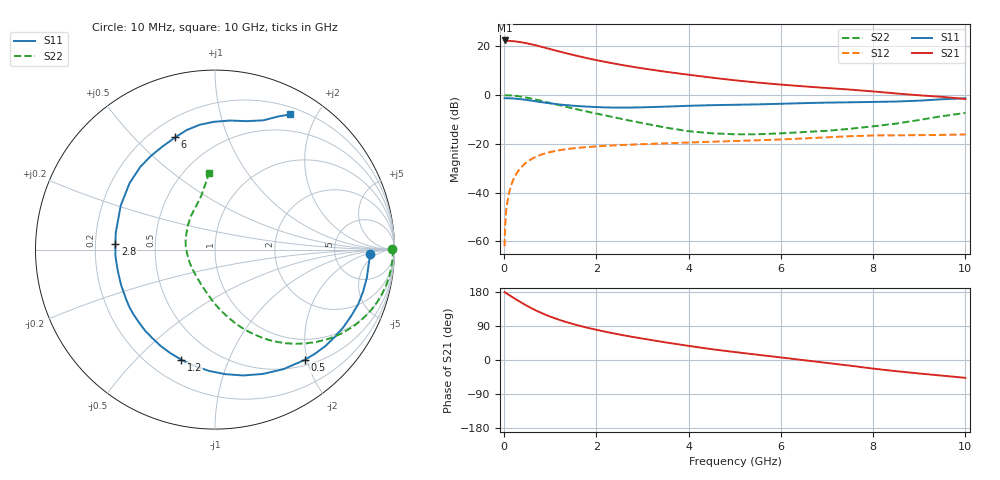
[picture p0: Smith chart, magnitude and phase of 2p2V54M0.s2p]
! (c) 2009  Infineon Technologies AG, Munich
! Infineon Technologies  Discrete & RF Semiconductors
! BFP420
! VCE =  2.5 V,  IC =  4.0 mA
! Common Emitter S-Parameters:  Nov 2009
# GHz  S  MA  R  50
!  f  S11  S21  S12  S22
! GHz  MAG  ANG  MAG  ANG  MAG  ANG  MAG  ANG
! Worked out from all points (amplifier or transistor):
!   46 points, 10 MHz to 10 GHz, reference 50 ohm
!   highest |S21| = 22.4 dB at 10 MHz (marker M1)
!   |S21| within 3 dB of that: start of sweep to 890.3 MHz
!   unconditionally stable (mu >= 1): 3.242 GHz to end of sweep
!   at 300 MHz: K = 0.08, MSG = 26.6 dB, |S12| = -31.3 dB
!   at 1.7 GHz: K = 0.52, MSG = 18.5 dB, |S12| = -21.5 dB
!   at 10 GHz: K = 1.14, MAG = 5.0 dB, |S12| = -16.1 dB
!   lowest NFmin = 0.61 dB at 900 MHz
!   S11 on the Smith chart (normalised r, x): 10 MHz: 13, -2; 500 MHz: 0.59, -1.96; 1.2 GHz: 0.33, -0.69; 2.8 GHz: 0.29, +0.03; 6 GHz: 0.30, +0.66; 10 GHz: 0.29, +1.66
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0.01  0.8632 -1.6  13.17 179.2  0.0008 104.5  0.988 0.1
0.02  0.8642 -2.3  12.84 178.6  0.0021 86.0  0.9909 -1.2
0.05  0.8602 -5.3  12.87 175.9  0.0048 87.8  0.9902 -3.0
0.15  0.8576 -15.8  12.82 168.2  0.014 81.6  0.9813 -9.1
0.3  0.8355 -31.3  12.39 156.8  0.0273 73.6  0.9492 -18.0
0.4  0.8166 -41.2  11.96 149.6  0.0354 68.4  0.9186 -23.5
0.5  0.7922 -50.9  11.47 142.7  0.0428 63.6  0.8831 -28.8
0.6  0.7675 -60.2  10.94 136.1  0.0493 59.2  0.8448 -33.7
0.8  0.7189 -77.3  9.811 124.6  0.0599 51.5  0.7646 -42.3
1  0.6765 -92.9  8.762 114.5  0.068 45.2  0.6882 -49.7
1.2  0.6421 -106.9  7.816 105.8  0.0741 40.1  0.6191 -56.1
1.4  0.6162 -119.5  7 98.2  0.079 35.9  0.5587 -61.7
1.7  0.5867 -136.2  6.007 88.3  0.0845 30.9  0.4813 -69.0
2.2  0.5591 -159.5  4.775 74.5  0.0912 24.8  0.3814 -79.4
2.8  0.5563 176.8  3.779 60.7  0.0968 19.4  0.2903 -92.1
3.5  0.5797 155.0  3.011 46.5  0.1024 14.9  0.2156 -109.4
4.5  0.6212 132.1  2.279 28.6  0.1106 9.6  0.1647 -141.9
5.5  0.6451 116.7  1.804 13.8  0.1185 5.2  0.1576 -172.7
6  0.6634 109.5  1.641 6.7  0.1231 3.3  0.1642 172.5
7  0.7004 97.1  1.396 -7.8  0.1363 -1.9  0.1854 148.3
8.5  0.7376 76.0  1.079 -29.5  0.1501 -14.4  0.2605 114.5
10  0.8609 61.0  0.831 -47.1  0.1559 -22.5  0.4297 94.3
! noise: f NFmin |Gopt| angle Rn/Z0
0.9  0.61  0.27  32  0.16
1.8  1.03  0.14  83  0.13
2.4  1.11  0.17  110  0.14
3  1.23  0.2  153  0.11
4  1.42  0.31  -151  0.11
5  1.77  0.38  -123  0.23
6  2.35  0.47  -104  0.33
